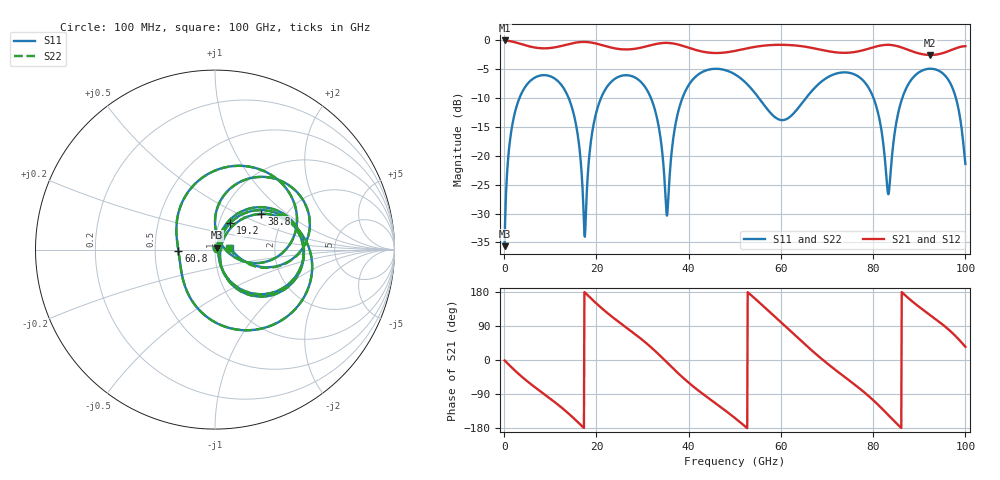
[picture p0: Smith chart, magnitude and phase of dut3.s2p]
! Touchstone file exported from HFSS 2026.1.0
!  File:  C:/ffzhzh/LocalFiles/Ansys_Project_Files/temp_train_TSV_RDL_3_1783435666_34316.aedt
!  Generated:  11:04:19 PM Jul  7, 2026
!  Design:  TSV_RDL
!  Project:  temp_train_TSV_RDL_3_1783435666_34316
! Variables:
!  h_bsmrdl = 4.68um
!  h_ox = 20um
!  h_rdl = 5um
!  h_sub = 63.74um
!  h_tmrdl = 4.56um
!  h_tsv = 63.74um
!  h_via = 3um
!  l_bsmrdl = 546.52um
!  l_sub = 3657um
!  l_tmrdl = 367.01um
!  m_sub = 200um
!  pitch = 51um
!  r_tsv = 8.94um
!  s_tmrdl = 10um
!  w_bsmrdl = 20.68um
!  w_sub = 500um
!  w_tmrdl = 29.12um
!  x_tsv_center1 = 381.57um
!  x_tsv_center2 = 948.77um
!  x_tsv_center3 = 1344.9um
!  x_tsv_center4 = 1912.1um
!  x_tsv_center5 = 2308.23um
!  x_tsv_center6 = 2875.43um
# GHz S MA R 50.000000
! Terminal data exported
! Port[1] = TM_RDL1_1_T1
! Port[2] = TM_RDL5_1_T1
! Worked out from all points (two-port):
!   1000 points, 100 MHz to 100 GHz, reference 50 ohm
!   highest |S21| = -0.10 dB at 100 MHz (marker M1); lowest = -2.6 dB at 92.4 GHz (marker M2)
!   |S21| within 3 dB of the highest: start of sweep to end of sweep
!   lowest |S11| = -35.6 dB at 100 MHz (marker M3), VSWR 1.03, Z = 51.2 + j1.19 ohm
!   |S11| at or under -10 dB: 13.96 GHz to 21.03 GHz (7.069 GHz wide, 40.4 % of centre); 31.8 GHz to 38.67 GHz (6.87 GHz wide, 19.5 % of centre); 55.17 GHz to 65.48 GHz (10.31 GHz wide, 17.1 % of centre) (the widest 3 of 6)
!   |S22| runs from -35.6 to -5.0 dB; largest |S21 - S12| = 6.2e-13
!   S11 on the Smith chart (normalised r, x): 100 MHz: 1.02, +0.02; 19.2 GHz: 1.13, +0.34; 38.8 GHz: 1.52, +0.67; 60.8 GHz: 0.66, -0.01; 100 GHz: 1.18, +0.02
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0.1  0.01652 44.5  0.9884 -1.3  0.9884 -1.3  0.01652 44.5
! Gamma 0 0 0 0
! Port Impedance 50 0 50 0
2  0.206 61.3  0.9617 -24.0  0.9617 -24.0  0.206 61.3
6.5  0.4682 17.3  0.8608 -70.3  0.8608 -70.3  0.4681 17.3
13.6  0.3406 -46.7  0.9107 -137.4  0.9107 -137.4  0.3405 -46.6
16.8  0.07065 -69.0  0.9596 -173.6  0.9596 -173.6  0.07068 -68.7
17.6  0.02331 27.2  0.96 177.0  0.96 177.0  0.02372 26.9
19.2  0.1687 60.4  0.9432 158.2  0.9432 158.2  0.1689 60.2
26.3  0.4951 -3.7  0.8265 87.3  0.8265 87.3  0.4951 -3.8
33.4  0.1881 -66.5  0.9289 16.2  0.9289 16.2  0.188 -66.6
35.3  0.03032 -7.0  0.9421 -6.3  0.9421 -6.3  0.02964 -7.0
38.8  0.3261 37.6  0.8857 -47.0  0.8857 -47.0  0.326 37.7
44.2  0.5515 -11.1  0.7774 -99.7  0.7774 -99.7  0.5515 -11.0
50.1  0.5019 -62.5  0.8038 -153.7  0.8038 -153.7  0.502 -62.5
55.2  0.3152 -113.4  0.8806 153.1  0.8806 153.1  0.3155 -113.4
60.8  0.204 -178.1  0.9056 90.6  0.9056 90.6  0.2042 -178.2
66.7  0.3616 113.0  0.8527 25.2  0.8527 25.2  0.3619 112.8
78.2  0.429 6.2  0.8216 -86.6  0.8216 -86.6  0.429 6.1
83.4  0.04782 46.5  0.9059 -146.7  0.9059 -146.7  0.04784 46.4
86.5  0.3296 78.3  0.8513 175.8  0.8513 175.8  0.3296 78.2
92.4  0.5633 27.8  0.74 118.1  0.74 118.1  0.563 27.6
97.3  0.3762 -13.2  0.8274 69.9  0.8274 69.9  0.3754 -13.7
100  0.08481 6.9  0.8821 34.8  0.8821 34.8  0.08054 5.6
